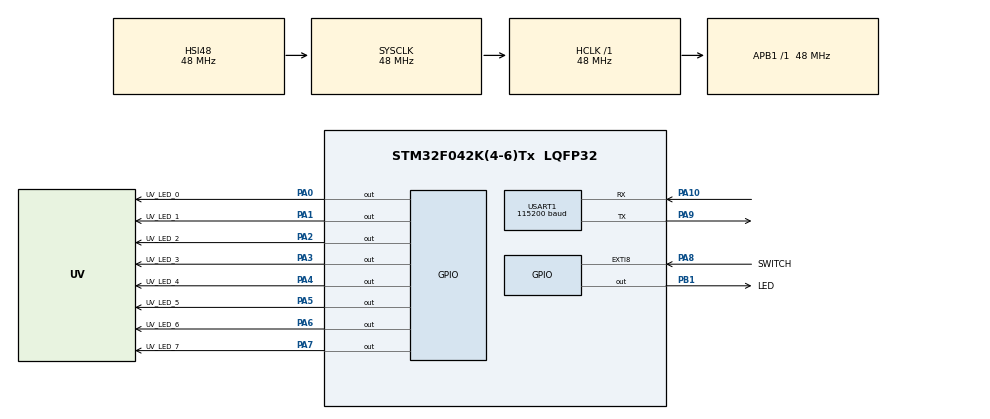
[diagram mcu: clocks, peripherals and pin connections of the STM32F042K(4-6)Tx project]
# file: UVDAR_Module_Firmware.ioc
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Dma.Request0=USART1_RX
Dma.USART1_RX.0.Direction=DMA_PERIPH_TO_MEMORY
Dma.USART1_RX.0.Instance=DMA1_Channel3
Dma.USART1_RX.0.MemDataAlignment=DMA_MDATAALIGN_BYTE
Dma.USART1_RX.0.MemInc=DMA_MINC_ENABLE
Dma.USART1_RX.0.Mode=DMA_CIRCULAR
Dma.USART1_RX.0.PeriphDataAlignment=DMA_PDATAALIGN_BYTE
Dma.USART1_RX.0.PeriphInc=DMA_PINC_DISABLE
Dma.USART1_RX.0.Priority=DMA_PRIORITY_MEDIUM
Mcu.Family=STM32F0
Mcu.Name=STM32F042K(4-6)Tx
Mcu.Package=LQFP32
NVIC.DMA1_Channel2_3_IRQn=true\:0\:0\:false\:false\:true\:false\:true
NVIC.EXTI4_15_IRQn=true\:0\:0\:false\:false\:true\:true\:true
NVIC.TIM3_IRQn=true\:0\:0\:false\:false\:true\:true\:true
PA0.GPIO_Label=UV_LED_0
PA0.GPIO_Speed=GPIO_SPEED_FREQ_HIGH
PA0.Signal=GPIO_Output
PA1.GPIO_Label=UV_LED_1
PA1.GPIO_Speed=GPIO_SPEED_FREQ_HIGH
PA1.Signal=GPIO_Output
PA10.Mode=Asynchronous
PA10.Signal=USART1_RX
PA13.Mode=Serial_Wire
PA13.Signal=SYS_SWDIO
PA14.Mode=Serial_Wire
PA14.Signal=SYS_SWCLK
PA2.GPIO_Label=UV_LED_2
PA2.GPIO_Speed=GPIO_SPEED_FREQ_HIGH
PA2.Signal=GPIO_Output
PA3.GPIO_Label=UV_LED_3
PA3.GPIO_Speed=GPIO_SPEED_FREQ_HIGH
PA3.Signal=GPIO_Output
PA4.GPIO_Label=UV_LED_4
PA4.GPIO_Speed=GPIO_SPEED_FREQ_HIGH
PA4.Signal=GPIO_Output
PA5.GPIO_Label=UV_LED_5
PA5.GPIO_Speed=GPIO_SPEED_FREQ_HIGH
PA5.Signal=GPIO_Output
PA6.GPIO_Label=UV_LED_6
PA6.GPIO_Speed=GPIO_SPEED_FREQ_HIGH
PA6.Signal=GPIO_Output
PA7.GPIO_Label=UV_LED_7
PA7.GPIO_Speed=GPIO_SPEED_FREQ_HIGH
PA7.Signal=GPIO_Output
PA8.GPIO_Label=SWITCH
PA8.GPIO_ModeDefaultEXTI=GPIO_MODE_IT_FALLING
PA8.Signal=GPXTI8
PA9.Mode=Asynchronous
PA9.Signal=USART1_TX
PB1.GPIO_Label=LED
PB1.Signal=GPIO_Output
PF0-OSC_IN.Mode=HSE-External-Oscillator
PF0-OSC_IN.Signal=RCC_OSC_IN
PF1-OSC_OUT.Mode=HSE-External-Oscillator
PF1-OSC_OUT.Signal=RCC_OSC_OUT
ProjectManager.HeapSize=0x200
ProjectManager.StackSize=0x400
ProjectManager.TargetToolchain=STM32CubeIDE
RCC.AHBFreq_Value=48000000
RCC.APB1Freq_Value=48000000
RCC.APB1TimFreq_Value=48000000
RCC.HCLKFreq_Value=48000000
RCC.HSE_VALUE=16000000
RCC.SYSCLKFreq_VALUE=48000000
RCC.SYSCLKSource=RCC_SYSCLKSOURCE_HSI48
TIM3.AutoReloadPreload=TIM_AUTORELOAD_PRELOAD_ENABLE
TIM3.Period=100-1
TIM3.Prescaler=48-1
USART1.BaudRate=115200
USART1.VirtualMode-Asynchronous=VM_ASYNC
VP_TIM3_VS_ClockSourceINT.Mode=Internal
board=custom

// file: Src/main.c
/* USER CODE BEGIN Header */
/**
  ******************************************************************************
  * @file           : main.c
  * @brief          : Main program body
  ******************************************************************************
  * @attention
  *
  * <h2><center>&copy; Copyright (c) 2019 STMicroelectronics.
  * All rights reserved.</center></h2>
  *
  * This software component is licensed by ST under Ultimate Liberty license
  * SLA0044, the "License"; You may not use this file except in compliance with
  * the License. You may obtain a copy of the License at:
  *                             www.st.com/SLA0044
  *
  ******************************************************************************
  */
/* USER CODE END Header */
#include "main.h"

/* USER CODE BEGIN Includes */
#include "uv_led_driver.h"
#include "stm32f0xx_hal_flash_ex.h"
#include "baca_protocol.h"
// Include string.h for memset
#include <string.h>
/* USER CODE END Includes */

/* USER CODE BEGIN PD */
#define FW_VERSION_H	1
#define FW_VERSION_L	0

#define BUFFER_SIZE 255
/* USER CODE END PD */

TIM_HandleTypeDef htim3;
UART_HandleTypeDef huart1;
DMA_HandleTypeDef hdma_usart1_rx;

/* USER CODE BEGIN PV */
// extern variables from uv_led_driver.h
extern uint32_t uv_led_counter[8];
extern uint32_t uv_led_periods_ms[8];
extern uint8_t enable_global;
// USART1 Buffer
uint8_t uart_rx_buff[BUFFER_SIZE];
uint8_t uart_rx_buff_size = 0;
/* USER CODE END PV */

void SystemClock_Config(void);
static void MX_GPIO_Init(void);
static void MX_DMA_Init(void);
static void MX_TIM3_Init(void);
static void MX_USART1_UART_Init(void);
/* USER CODE BEGIN PFP */
void process_uart_message(void);
void USER_UART_IRQHandler(UART_HandleTypeDef *huart);
void USAR_UART_IDLECallback(UART_HandleTypeDef *huart);
/* USER CODE END PFP */

int main(void)
{

  /* MCU Configuration--------------------------------------------------------*/

  /* Reset of all peripherals, Initializes the Flash interface and the Systick. */
  HAL_Init();

  /* Configure the system clock */
  SystemClock_Config();

  /* Initialize all configured peripherals */
  MX_GPIO_Init();
  MX_DMA_Init();
  MX_TIM3_Init();
  MX_USART1_UART_Init();
  /* USER CODE BEGIN 2 */

  // Initialize UV LEDs - sets pins and loads values from FLASH
  uv_led_init();

  // Start UART RX using DMA
  HAL_UART_Receive_DMA(&huart1, (uint8_t*)uart_rx_buff, BUFFER_SIZE);

  // Start TIM3
  HAL_TIM_Base_Start_IT(&htim3);

  // Turn on the LED to signal the initialization is done
  HAL_GPIO_WritePin(LED_GPIO_Port, LED_Pin, 1);
  /* USER CODE END 2 */

  /* Infinite loop */
  while (1)
  {

  }
}

void SystemClock_Config(void)
{
  RCC_OscInitTypeDef RCC_OscInitStruct = {0};
  RCC_ClkInitTypeDef RCC_ClkInitStruct = {0};
  RCC_PeriphCLKInitTypeDef PeriphClkInit = {0};

  /** Initializes the RCC Oscillators according to the specified parameters
  * in the RCC_OscInitTypeDef structure.
  */
  RCC_OscInitStruct.OscillatorType = RCC_OSCILLATORTYPE_HSI48;
  RCC_OscInitStruct.HSI48State = RCC_HSI48_ON;
  RCC_OscInitStruct.PLL.PLLState = RCC_PLL_NONE;
  if (HAL_RCC_OscConfig(&RCC_OscInitStruct) != HAL_OK)
  {
    Error_Handler();
  }
  /** Initializes the CPU, AHB and APB buses clocks
  */
  RCC_ClkInitStruct.ClockType = RCC_CLOCKTYPE_HCLK|RCC_CLOCKTYPE_SYSCLK
                              |RCC_CLOCKTYPE_PCLK1;
  RCC_ClkInitStruct.SYSCLKSource = RCC_SYSCLKSOURCE_HSI48;
  RCC_ClkInitStruct.AHBCLKDivider = RCC_SYSCLK_DIV1;
  RCC_ClkInitStruct.APB1CLKDivider = RCC_HCLK_DIV1;

  if (HAL_RCC_ClockConfig(&RCC_ClkInitStruct, FLASH_LATENCY_1) != HAL_OK)
  {
    Error_Handler();
  }
  PeriphClkInit.PeriphClockSelection = RCC_PERIPHCLK_USART1;
  PeriphClkInit.Usart1ClockSelection = RCC_USART1CLKSOURCE_PCLK1;
  if (HAL_RCCEx_PeriphCLKConfig(&PeriphClkInit) != HAL_OK)
  {
    Error_Handler();
  }
}

static void MX_TIM3_Init(void)
{

  TIM_ClockConfigTypeDef sClockSourceConfig = {0};
  TIM_MasterConfigTypeDef sMasterConfig = {0};

  htim3.Instance = TIM3;
  htim3.Init.Prescaler = 48-1;
  htim3.Init.CounterMode = TIM_COUNTERMODE_UP;
  htim3.Init.Period = 100-1;
  htim3.Init.ClockDivision = TIM_CLOCKDIVISION_DIV1;
  htim3.Init.AutoReloadPreload = TIM_AUTORELOAD_PRELOAD_ENABLE;
  if (HAL_TIM_Base_Init(&htim3) != HAL_OK)
  {
    Error_Handler();
  }
  sClockSourceConfig.ClockSource = TIM_CLOCKSOURCE_INTERNAL;
  if (HAL_TIM_ConfigClockSource(&htim3, &sClockSourceConfig) != HAL_OK)
  {
    Error_Handler();
  }
  sMasterConfig.MasterOutputTrigger = TIM_TRGO_RESET;
  sMasterConfig.MasterSlaveMode = TIM_MASTERSLAVEMODE_DISABLE;
  if (HAL_TIMEx_MasterConfigSynchronization(&htim3, &sMasterConfig) != HAL_OK)
  {
    Error_Handler();
  }

}

static void MX_USART1_UART_Init(void)
{

  huart1.Instance = USART1;
  huart1.Init.BaudRate = 115200;
  huart1.Init.WordLength = UART_WORDLENGTH_8B;
  huart1.Init.StopBits = UART_STOPBITS_1;
  huart1.Init.Parity = UART_PARITY_NONE;
  huart1.Init.Mode = UART_MODE_TX_RX;
  huart1.Init.HwFlowCtl = UART_HWCONTROL_NONE;
  huart1.Init.OverSampling = UART_OVERSAMPLING_16;
  huart1.Init.OneBitSampling = UART_ONE_BIT_SAMPLE_DISABLE;
  huart1.AdvancedInit.AdvFeatureInit = UART_ADVFEATURE_NO_INIT;
  if (HAL_UART_Init(&huart1) != HAL_OK)
  {
    Error_Handler();
  }
  /* USER CODE BEGIN USART1_Init 2 */

  __HAL_UART_ENABLE_IT(&huart1, UART_IT_IDLE);  // Enable serial port idle interrupt

  HAL_NVIC_SetPriority(USART1_IRQn, 0, 0);
  HAL_NVIC_EnableIRQ(USART1_IRQn);
  /* USER CODE END USART1_Init 2 */

}

static void MX_DMA_Init(void)
{

  /* DMA controller clock enable */
  __HAL_RCC_DMA1_CLK_ENABLE();

  /* DMA interrupt init */
  /* DMA1_Channel2_3_IRQn interrupt configuration */
  HAL_NVIC_SetPriority(DMA1_Channel2_3_IRQn, 0, 0);
  HAL_NVIC_EnableIRQ(DMA1_Channel2_3_IRQn);

}

static void MX_GPIO_Init(void)
{
  GPIO_InitTypeDef GPIO_InitStruct = {0};

  /* GPIO Ports Clock Enable */
  __HAL_RCC_GPIOF_CLK_ENABLE();
  __HAL_RCC_GPIOA_CLK_ENABLE();
  __HAL_RCC_GPIOB_CLK_ENABLE();

  /*Configure GPIO pin Output Level */
  HAL_GPIO_WritePin(GPIOA, UV_LED_0_Pin|UV_LED_1_Pin|UV_LED_2_Pin|UV_LED_3_Pin
                          |UV_LED_4_Pin|UV_LED_5_Pin|UV_LED_6_Pin|UV_LED_7_Pin, GPIO_PIN_RESET);

  /*Configure GPIO pin Output Level */
  HAL_GPIO_WritePin(LED_GPIO_Port, LED_Pin, GPIO_PIN_RESET);

  /*Configure GPIO pins : UV_LED_0_Pin UV_LED_1_Pin UV_LED_2_Pin UV_LED_3_Pin
                           UV_LED_4_Pin UV_LED_5_Pin UV_LED_6_Pin UV_LED_7_Pin */
  GPIO_InitStruct.Pin = UV_LED_0_Pin|UV_LED_1_Pin|UV_LED_2_Pin|UV_LED_3_Pin
                          |UV_LED_4_Pin|UV_LED_5_Pin|UV_LED_6_Pin|UV_LED_7_Pin;
  GPIO_InitStruct.Mode = GPIO_MODE_OUTPUT_PP;
  GPIO_InitStruct.Pull = GPIO_NOPULL;
  GPIO_InitStruct.Speed = GPIO_SPEED_FREQ_HIGH;
  HAL_GPIO_Init(GPIOA, &GPIO_InitStruct);

  /*Configure GPIO pin : LED_Pin */
  GPIO_InitStruct.Pin = LED_Pin;
  GPIO_InitStruct.Mode = GPIO_MODE_OUTPUT_PP;
  GPIO_InitStruct.Pull = GPIO_NOPULL;
  GPIO_InitStruct.Speed = GPIO_SPEED_FREQ_LOW;
  HAL_GPIO_Init(LED_GPIO_Port, &GPIO_InitStruct);

  /*Configure GPIO pin : SWITCH_Pin */
  GPIO_InitStruct.Pin = SWITCH_Pin;
  GPIO_InitStruct.Mode = GPIO_MODE_IT_FALLING;
  GPIO_InitStruct.Pull = GPIO_NOPULL;
  HAL_GPIO_Init(SWITCH_GPIO_Port, &GPIO_InitStruct);

  /* EXTI interrupt init*/
  HAL_NVIC_SetPriority(EXTI4_15_IRQn, 0, 0);
  HAL_NVIC_EnableIRQ(EXTI4_15_IRQn);

}

/* USER CODE BEGIN 4 */
/* UART1 Interrupt Service Routine */
void USART1_IRQHandler(void)
{
    /* USER CODE BEGIN USART1_IRQn 0 */

    HAL_UART_IRQHandler(&huart1);

    // Function to handle the IDLE INTERRUPT
    USER_UART_IRQHandler(&huart1);
    /* USER CODE END USART1_IRQn 1 */
}

void USER_UART_IRQHandler(UART_HandleTypeDef *huart)
{
	// Check if the interrupt came from USART1
    if(USART1 == huart1.Instance)
    {
    	// Check if the interrupt is IDLE INTERRUPT
        if(__HAL_UART_GET_FLAG(&huart1, UART_FLAG_IDLE) != RESET)
        {
        	// Clear the IDLE INTERRUPT flag
            __HAL_UART_CLEAR_IDLEFLAG(&huart1);
            // Call the interrupt Handler
            USAR_UART_IDLECallback(huart);
        }
    }
}

void USAR_UART_IDLECallback(UART_HandleTypeDef *huart)
{
	//Stop UART DMA
    HAL_UART_DMAStop(&huart1);
	//Calculate the length of the received data
	uart_rx_buff_size  = BUFFER_SIZE - __HAL_DMA_GET_COUNTER(&hdma_usart1_rx);
	// Process the message
	process_uart_message();
	// Clear Receiving Buffer
	memset(uart_rx_buff, 0, uart_rx_buff_size);
    //Restart to start DMA USART RX
    HAL_UART_Receive_DMA(&huart1, (uint8_t*)uart_rx_buff, BUFFER_SIZE);
}

void HAL_DMA1_Channel2_3_IRQHandler(void)
{
	HAL_DMA_IRQHandler(&hdma_usart1_rx);
}

void HAL_GPIO_EXTI_Callback(uint16_t GPIO_Pin)
{
	// If the Interrupt came from SWITCH Pin
	if (GPIO_Pin == SWITCH_Pin)
	{
		// Toggle the UVLEDs global enable flag
		enable_global = !enable_global;
	}
}

/**
 * @brief  Period elapsed callback in non blocking mode
 * @note   This function is called  when TIM1 interrupt took place, inside
 * HAL_TIM_IRQHandler(). It makes a direct call to HAL_IncTick() to increment
 * a global variable "uwTick" used as application time base.
 * @param  htim : TIM handle
 * @retval None
 */
void HAL_TIM_PeriodElapsedCallback(TIM_HandleTypeDef *htim)
{
 /* USER CODE BEGIN Callback 0 */
	// Check if the callback came from TIM3
	if (htim->Instance == TIM3)
	{
		// Check UVLED toggle counters
		for (int i = 0; i < 8; i++)
		{
			// If toggle counter reached the max value toggle the UVLED and reset counter
			if (uv_led_counter[i] >= uv_led_periods_ms[i])
			{
				uv_led_toggle(i);
				uv_led_counter[i] = 0;
			// increment counter
			} else{
				uv_led_counter[i]++;
			}
		}
	}
 /* USER CODE END Callback 0 */
 if (htim->Instance == TIM3) {
   HAL_IncTick();
 }
 /* USER CODE BEGIN Callback 1 */

 /* USER CODE END Callback 1 */
}

void process_uart_message(void)
{
	// Decode the received message
	struct baca_payload received_message = baca_protocol_decode(uart_rx_buff, uart_rx_buff_size);
	// if the received message is correct (is a baca protocol message)
	if (received_message.data_correct == 1)
	{
		// Get the message ID
		uint8_t baca_id = received_message.payload[0];
		switch (baca_id)
		{
			// Message to toggle the global enable flag
			case 0x90:
				enable_global = !enable_global;
				break;

			// Message to enable UVLEDs
			case 0x91:
				// Check if the payload has corect size (message id + 8 data bytes)
				if (received_message.payload_size == 9)
				{
					for (uint8_t i = 0; i < 8; i++)
					{
						uv_led_enable(i, (uint8_t) received_message.payload[i+1]);
					}
				}
				break;
			// Message to set frequencies of UVLEDs
			case 0x92:
				// Check if the payload has corect size (message id + 8 data bytes)
				if (received_message.payload_size == 9)
				{
					for (uint8_t i = 0; i < 8; i++)
					{
						if (received_message.payload[i] != 0)
						{
							uv_led_set_frequency(i, (uint32_t) received_message.payload[i+1]);
						}
					}
				}
				break;
			// Message to enable an individual UVLED
			case 0x93:
				// Check if the payload has corect size (message id + 2 data bytes)
				if (received_message.payload_size == 3)
				{
					uv_led_enable((uint8_t)received_message.payload[1],(uint8_t) received_message.payload[2]);
				}
				break;
			// Message to set frequency of an individual UVLED
			case 0x94:
				// Check if the payload has corect size (message id + 2 data bytes)
				if (received_message.payload_size == 3)
				{
					uv_led_set_frequency((uint8_t)received_message.payload[1],(uint8_t) received_message.payload[2]);
				}
				break;
			// Message to return the enable flags of UVLEDs
			case 0x95:
				{
					uint8_t baca_buffer[12];
					uint8_t baca_buffer_length = 12;
					// Encode the data using baca protocol
					baca_protocol_encode(baca_buffer, uv_led_enabled, 8, 0x95);
					// Transmit the data
					HAL_UART_Transmit(&huart1, baca_buffer, baca_buffer_length, 100);
				}
				break;
			// Message to return frequencies of UVLEDs
			case 0x96:
				{
					uint8_t baca_buffer[12];
					uint8_t baca_buffer_length = 12;
					uint8_t frequencies_to_send[8];
					// Calculate the frequency from set ticks
					for (uint8_t j = 0; j < 8; j++)
					{
						frequencies_to_send[j] = (uint8_t)(TIMER_FREQ/(2*uv_led_periods_ms[j]));
					}
					// Encode the data using baca protocol
					baca_protocol_encode(baca_buffer, frequencies_to_send , 8, 0x96);
					// Transmit the data
					HAL_UART_Transmit(&huart1, baca_buffer, baca_buffer_length, 100);
				}
				break;
			// Something else: Do nothing
			default:
				break;
		}
	}
}
/* USER CODE END 4 */

void Error_Handler(void)
{
  /* USER CODE BEGIN Error_Handler_Debug */
  /* User can add his own implementation to report the HAL error return state */
	// Just blink the LED
	while (1)
	{
		  HAL_GPIO_TogglePin(LED_GPIO_Port, LED_Pin);
		  HAL_Delay(250);
	}
  /* USER CODE END Error_Handler_Debug */
}

/************************ (C) COPYRIGHT STMicroelectronics *****END OF FILE****/
